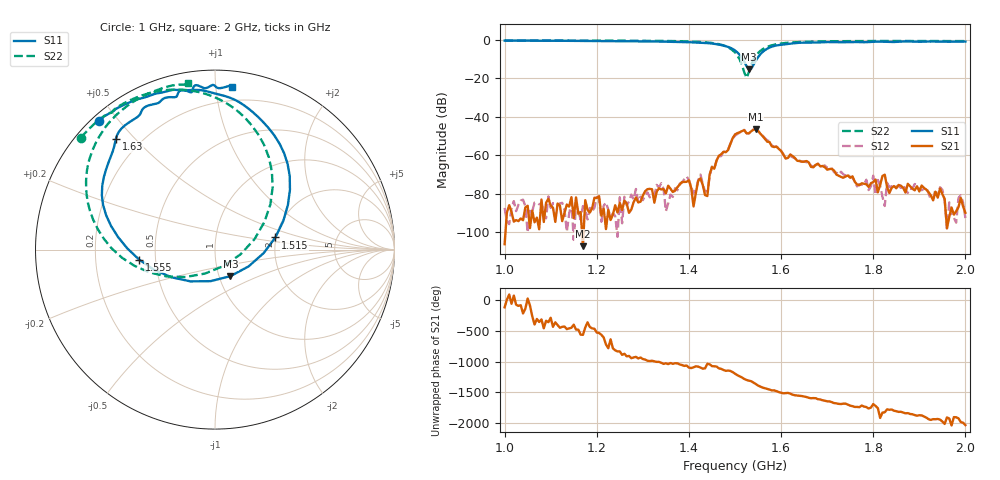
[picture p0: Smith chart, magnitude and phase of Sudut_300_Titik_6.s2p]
# Hz S RI R 50
! CMT, C1220, 16058040, 17.2.0/1
! Date: 14/08/2018 12:24:54
! Data: Format (Calibration Info)
! Freq  S11: Re/Im (F2)  S21: Re/Im (F2)  S12: Re/Im (F2)  S22: Re/Im (F2)
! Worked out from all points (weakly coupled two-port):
!   201 points, 1 GHz to 2 GHz, reference 50 ohm
!   highest |S21| = -46.41 dB at 1.545 GHz (marker M1); lowest = -107.3 dB at 1.17 GHz (marker M2)
!   lowest |S11| = -15.3 dB at 1.53 GHz (marker M3), VSWR 1.41, Z = 56.6 - j17.2 ohm
!   |S11| at or under -10 dB: 1.517 GHz to 1.547 GHz (30.41 MHz wide, 1.99 % of centre)
!   |S22| runs from -19.7 to -0.2 dB; largest |S21 - S12| = 0.00037
!   S11 on the Smith chart (normalised r, x): 1 GHz: 0.02, +0.44; 1.515 GHz: 1.98, +0.30; 1.555 GHz: 0.40, -0.05; 1.63 GHz: 0.11, +0.44; 2 GHz: 0.10, +1.11
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1e9  -0.6464 0.7152  -1.95e-06 -4.42e-06  -3.53e-05 -2.42e-05  -0.7477 0.6242
1.17e9  -0.4713 0.8224  -3.96e-06 1.65e-06  4.72e-05 -5.48e-06  -0.6111 0.7487
1.335e9  -0.2084 0.8889  3.15e-05 0.000135  8.36e-05 0.000117  -0.3962 0.8624
1.395e9  -0.0452 0.8817  0.000194 5.99e-05  0.000283 -2.4e-06  -0.239 0.891
1.41e9  0.0106 0.8673  4.55e-05 -9.64e-06  0.000103 -2.18e-06  -0.1824 0.8906
1.425e9  0.0774 0.8483  0.000239 -7.53e-05  0.000301 -9.5e-05  -0.1143 0.8824
1.44e9  0.1373 0.8198  6.1e-05 6.18e-05  0.000116 2.38e-05  -0.0352 0.8619
1.45e9  0.1815 0.7895  0.000487 6.4e-05  0.000509 8.54e-07  0.0266 0.8358
1.5e9  0.4176 0.3337  -0.00154 -0.00314  -0.00146 -0.00291  0.3212 0.3471
1.515e9  0.3364 0.0678  -0.00424 -0.000235  -0.00422 -0.000351  0.2199 0.0576
1.53e9  0.0856 -0.1479  -0.00239 0.00282  -0.00243 0.00284  -0.0552 -0.1333
1.545e9  -0.2427 -0.1542  0.00117 0.00464  0.00101 0.00466  -0.3669 -0.1263
1.555e9  -0.4228 -0.0556  0.00299 0.00206  0.00297 0.00224  -0.5192 -0.0445
1.63e9  -0.5521 0.6176  -0.000264 -0.000806  -0.000209 -0.000805  -0.6865 0.5422
1.67e9  -0.4334 0.7378  -0.000435 -0.000214  -0.000469 -0.000223  -0.6186 0.6705
1.79e9  -0.2101 0.8594  0.000121 8.74e-05  8.05e-05 9.45e-05  -0.4313 0.8373
1.8e9  -0.2033 0.8765  -6.38e-05 0.00019  0.000284 7.89e-05  -0.4176 0.8458
1.805e9  -0.198 0.8837  4.88e-05 0.000228  4.47e-05 8.15e-05  -0.4104 0.8496
1.81e9  -0.1901 0.8882  8.03e-05 7.28e-05  0.000142 0.000177  -0.4038 0.8535
1.825e9  -0.1581 0.8845  0.000283 -0.000133  -8.74e-07 4.77e-05  -0.3836 0.8631
1.835e9  -0.1382 0.8768  9.97e-05 2.81e-05  0.000145 -2.45e-05  -0.3703 0.8697
2e9  0.0969 0.9073  -1.83e-05 2.59e-05  -2.31e-05 1.33e-06  -0.1486 0.9279
